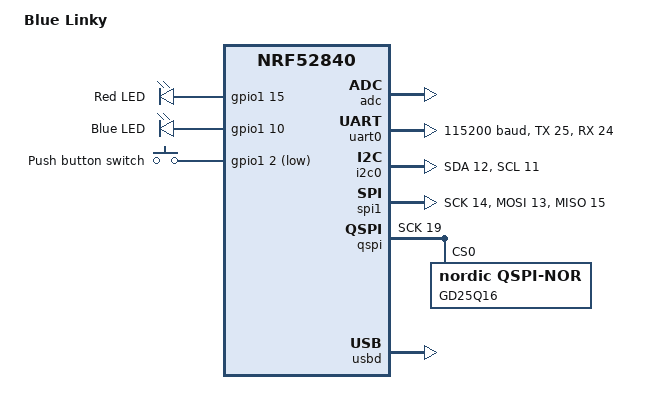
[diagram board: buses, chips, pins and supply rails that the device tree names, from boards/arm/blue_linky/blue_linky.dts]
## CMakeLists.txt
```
#
# Copyright (c) 2020 Nordic Semiconductor
#
# SPDX-License-Identifier: LicenseRef-Nordic-5-Clause
#

cmake_minimum_required(VERSION 3.13.1)
list(APPEND BOARD_ROOT ${CMAKE_CURRENT_SOURCE_DIR})
find_package(Zephyr REQUIRED HINTS $ENV{ZEPHYR_BASE})
project(linky)

FILE(GLOB app_sources src/*.c)
# NORDIC SDK APP START
target_sources(app PRIVATE
	${app_sources}
)
# NORDIC SDK APP END
```

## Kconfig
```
#
# Copyright (c) 2018 Nordic Semiconductor
#
# SPDX-License-Identifier: LicenseRef-Nordic-5-Clause
#

source "Kconfig.zephyr"

menu "Linky UART BLE GATT service"

config BT_NUS_THREAD_STACK_SIZE
	int "Thread stack size"
	default 1024
	help
	  Stack size used in each of the two threads

config BT_NUS_UART_BUFFER_SIZE
	int "UART payload buffer element size"
	default 20
	help
	  Size of the payload buffer in each RX and TX FIFO element

config BT_NUS_SECURITY_ENABLED
	bool "Enable security"
	default y
	select BT_SMP
	help
	  "Enable BLE security for the UART service"

config BT_NUS_UART_RX_WAIT_TIME
	int "Timeout for UART RX complete event"
	default 50
	help
	  Wait for RX complete event time in milliseconds

endmenu
```

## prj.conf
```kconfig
# Enable the UART driver
CONFIG_UART_ASYNC_API=y
CONFIG_NRFX_UARTE0=y
CONFIG_SERIAL=y
CONFIG_GPIO=y

# Make sure printk is not printing to the UART console
CONFIG_CONSOLE=n
CONFIG_RTT_CONSOLE=n
CONFIG_UART_CONSOLE=n

CONFIG_HEAP_MEM_POOL_SIZE=2048

CONFIG_BT=y
CONFIG_BT_PERIPHERAL=y
CONFIG_BT_DEVICE_NAME="Linky UART Service"
CONFIG_BT_DEVICE_APPEARANCE=833
CONFIG_BT_MAX_CONN=1
CONFIG_BT_MAX_PAIRED=1

# Enable the NUS service
CONFIG_BT_NUS=y

# Enable bonding
CONFIG_BT_SETTINGS=y
CONFIG_FLASH=y
CONFIG_FLASH_PAGE_LAYOUT=y
CONFIG_FLASH_MAP=y
CONFIG_NVS=y
CONFIG_SETTINGS=y

# This example requires more workqueue stack
CONFIG_SYSTEM_WORKQUEUE_STACK_SIZE=2048

# Config logger
CONFIG_LOG=n
CONFIG_USE_SEGGER_RTT=n
CONFIG_LOG_BACKEND_RTT=n
CONFIG_LOG_BACKEND_UART=n

CONFIG_ASSERT=n
```

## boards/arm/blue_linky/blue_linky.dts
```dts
/*
 * Copyright (c) 2020 Tobias Svehagen
 *
 * SPDX-License-Identifier: Apache-2.0
 */

/dts-v1/;
#include <nordic/nrf52840_qiaa.dtsi>
#include "feather_connector.dtsi"

/ {
	model = "Blue Linky";
	compatible = "adafruit,feather-nrf52840";

	chosen {
		zephyr,console = &uart0;
		zephyr,shell-uart = &uart0;
		zephyr,uart-mcumgr = &uart0;
		zephyr,bt-mon-uart = &uart0;
		zephyr,bt-c2h-uart = &uart0;
		zephyr,sram = &sram0;
		zephyr,flash = &flash0;
		zephyr,code-partition = &slot0_partition;
	};

	leds {
		compatible = "gpio-leds";
		led0: led_0 {
			gpios = <&gpio1 15 0>;
			label = "Red LED";
		};
		led1: led_1 {
			gpios = <&gpio1 10 0>;
			label = "Blue LED";
		};
	};

	buttons {
		compatible = "gpio-keys";
		button0: button_0 {
			gpios = <&gpio1 2 (GPIO_PULL_UP | GPIO_ACTIVE_LOW)>;
			label = "Push button switch";
		};
	};

	/* These aliases are provided for compatibility with samples */
	aliases {
		led0 = &led0;
		led1 = &led1;
		sw0 = &button0;
	};
};

&adc {
	status = "okay";
};

&gpiote {
	status = "okay";
};

&gpio0 {
	status = "okay";
};

&gpio1 {
	status = "okay";
};

&uart0 {
	compatible = "nordic,nrf-uart";
	current-speed = <115200>;
	status = "okay";
	tx-pin = <25>;
	rx-pin = <24>;
};

&i2c0 {
	status = "okay";
	sda-pin = <12>;
	scl-pin = <11>;
};

&spi1 {
	compatible = "nordic,nrf-spi";
	status = "okay";
	sck-pin = <14>;
	mosi-pin = <13>;
	miso-pin = <15>;
};

&qspi {
	status = "okay";
	sck-pin = <19>;
	io-pins = <17>, <22>, <23>, <21>;
	csn-pins = <20>;
	gd25q16: gd25q16@0 {
		/* NOTE: Quad mode not supported as driver does not handle
		 * QE bit setting in SR2. Ref. GD25Q16C, Rev 3.0, p. 12.
		 */
		compatible = "nordic,qspi-nor";
		reg = <0>;
		writeoc = "pp2o";
		readoc = "read2io";
		sck-frequency = <16000000>;
		label = "GD25Q16";
		jedec-id = [c8 40 15];
		size = <16777216>;
		has-dpd;
		t-enter-dpd = <20000>;
		t-exit-dpd = <20000>;
	};
};

&flash0 {

	partitions {
		compatible = "fixed-partitions";
		#address-cells = <1>;
		#size-cells = <1>;

		boot_partition: partition@0 {
			label = "mcuboot";
			reg = <0x000000000 0x0000C000>;
		};
		slot0_partition: partition@c000 {
			label = "image-0";
			reg = <0x0000C000 0x00067000>;
		};
		slot1_partition: partition@73000 {
			label = "image-1";
			reg = <0x00073000 0x00067000>;
		};
		scratch_partition: partition@da000 {
			label = "image-scratch";
			reg = <0x000da000 0x0001e000>;
		};

		/*
		 * The flash starting at 0x000f8000 and ending at
		 * 0x000fffff is reserved for use by the application.
		 */

		/* Storage partition will be used by FCB/NFFS/NVS if enabled. */
		storage_partition: partition@f8000 {
			label = "storage";
			reg = <0x000f8000 0x00008000>;
		};
	};
};

&usbd {
	compatible = "nordic,nrf-usbd";
	status = "okay";
};
```

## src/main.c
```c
// void app_error_fault_handler(uint32_t id, uint32_t pc, uint32_t info)
// {
//   __auto_type _err = (error_info_t *)info;

//   NRF_LOG_ERROR("{%s}[%d]\r\n", (uint32_t)_err->p_file_name, _err->line_num);
//   NRF_LOG_FINAL_FLUSH();
//   // On assert, the system can only recover with a reset.
// #ifndef DEBUG
//   NVIC_SystemReset();
// #else
//   app_error_save_and_stop(id, pc, info);
// #endif // DEBUG
// }

#include <stdint.h>
#include <inttypes.h>
#include <string.h>
#include "nordic_common.h"
#include "nrf.h"
#include "ble_hci.h"
#include "ble_advdata.h"
#include "ble_advertising.h"
#include "ble_conn_params.h"
#include "nrf_sdh.h"
#include "nrf_sdh_soc.h"
#include "nrf_sdh_ble.h"
#include "nrf_ble_gatt.h"
#include "nrf_ble_qwr.h"
#include "app_timer.h"
#include "app_uart.h"
#include "app_util_platform.h"
#include "bsp_btn_ble.h"
#include "nrf_pwr_mgmt.h"

#include "ble_linkyt.h"
#include "teleinfo.h"
#include "uart.h"

#include "nrf_log.h"
#include "nrf_log_ctrl.h"
#include "nrf_log_default_backends.h"

#define APP_BLE_CONN_CFG_TAG 1 /**< A tag identifying the SoftDevice BLE configuration. */

#define DEVICE_NAME "Linkyt"                                /**< Name of device. Will be included in the advertising data. */
#define LINKYT_SERVICE_UUID_TYPE BLE_UUID_TYPE_VENDOR_BEGIN /**< UUID type for the Linkyt service (vendor specific). */

#define APP_BLE_OBSERVER_PRIO 3 /**< Application's BLE observer priority. You shouldn't need to modify this value. */

#define APP_ADV_INTERVAL 64 /**< The advertising interval (in units of 0.625 ms. This value corresponds to 40 ms). */

#define APP_ADV_DURATION 18000 /**< The advertising duration (180 seconds) in units of 10 milliseconds. */

#define MIN_CONN_INTERVAL MSEC_TO_UNITS(20, UNIT_1_25_MS)    /**< Minimum acceptable connection interval (20 ms), Connection interval uses 1.25 ms units. */
#define MAX_CONN_INTERVAL MSEC_TO_UNITS(75, UNIT_1_25_MS)    /**< Maximum acceptable connection interval (75 ms), Connection interval uses 1.25 ms units. */
#define SLAVE_LATENCY 0                                      /**< Slave latency. */
#define CONN_SUP_TIMEOUT MSEC_TO_UNITS(4000, UNIT_10_MS)     /**< Connection supervisory timeout (4 seconds), Supervision Timeout uses 10 ms units. */
#define FIRST_CONN_PARAMS_UPDATE_DELAY APP_TIMER_TICKS(5000) /**< Time from initiating event (connect or start of notification) to first time sd_ble_gap_conn_param_update is called (5 seconds). */
#define NEXT_CONN_PARAMS_UPDATE_DELAY APP_TIMER_TICKS(30000) /**< Time between each call to sd_ble_gap_conn_param_update after the first call (30 seconds). */
#define MAX_CONN_PARAMS_UPDATE_COUNT 3                       /**< Number of attempts before giving up the connection parameter negotiation. */

#define DEAD_BEEF 0xDEADBEEF /**< Value used as error code on stack dump, can be used to identify stack location on stack unwind. */

BLE_LINKYT_DEF(m_linky, NRF_SDH_BLE_TOTAL_LINK_COUNT); /**< BLE NUS service instance. */
NRF_BLE_GATT_DEF(m_gatt);                              /**< GATT module instance. */
NRF_BLE_QWR_DEF(m_qwr);                                /**< Context for the Queued Write module.*/
BLE_ADVERTISING_DEF(m_advertising);                    /**< Advertising module instance. */

static uint16_t m_conn_handle = BLE_CONN_HANDLE_INVALID;                  /**< Handle of the current connection. */
static uint16_t m_ble_linkyt_max_data_len = BLE_GATT_ATT_MTU_DEFAULT - 3; /**< Maximum length of data (in bytes) that can be transmitted to the peer by the Nordic UART service module. */
static ble_uuid_t m_adv_uuids[] =                                         /**< Universally unique service identifier. */
    {
        {BLE_UUID_LINKYT_SERVICE, LINKYT_SERVICE_UUID_TYPE}};

/**
 * @brief Function for assert macro callback.
 *
 * @details This function will be called in case of an assert in the SoftDevice.
 *
 * @warning On assert from the SoftDevice, the system can only recover on reset.
 *
 * @param[in] line_num    Line number of the failing ASSERT call.
 * @param[in] p_file_name File name of the failing ASSERT call.
 */
void assert_nrf_callback(uint16_t line_num, const uint8_t *p_file_name)
{
  app_error_handler(DEAD_BEEF, line_num, p_file_name);
}

/**
 * @brief Function for initializing the timer module.
 */
static void timers_init(void)
{
  ret_code_t err_code = app_timer_init();
  APP_ERROR_CHECK(err_code);
}

/**
 * @brief Function for the GAP initialization.
 *
 * @details This function will set up all the necessary GAP (Generic Access Profile) parameters of
 *          the device. It also sets the permissions and appearance.
 */
static void gap_params_init(void)
{
  uint32_t err_code;
  ble_gap_conn_params_t gap_conn_params;
  ble_gap_conn_sec_mode_t sec_mode;

  BLE_GAP_CONN_SEC_MODE_SET_OPEN(&sec_mode);

  err_code = sd_ble_gap_device_name_set(&sec_mode,
                                        (const uint8_t *)DEVICE_NAME,
                                        strlen(DEVICE_NAME));
  APP_ERROR_CHECK(err_code);

  memset(&gap_conn_params, 0, sizeof(gap_conn_params));

  gap_conn_params.min_conn_interval = MIN_CONN_INTERVAL;
  gap_conn_params.max_conn_interval = MAX_CONN_INTERVAL;
  gap_conn_params.slave_latency = SLAVE_LATENCY;
  gap_conn_params.conn_sup_timeout = CONN_SUP_TIMEOUT;

  err_code = sd_ble_gap_ppcp_set(&gap_conn_params);
  APP_ERROR_CHECK(err_code);
}

/**
 * @brief Function for handling Queued Write Module errors.
 *
 * @details A pointer to this function will be passed to each service which may need to inform the
 *          application about an error.
 *
 * @param[in]   nrf_error   Error code containing information about what went wrong.
 */
static void nrf_qwr_error_handler(uint32_t nrf_error)
{
  APP_ERROR_HANDLER(nrf_error);
}

/**
 * @brief   Function for handling app_uart events.
 */
void linkyt_uart_event_handle(const uint8_t *frame, const uint16_t frame_len)
{
  teleinfo_data_t data = {0};

  /* Parse teleinfo data */
  int32_t rc = teleinfo_parse_frame(frame, frame_len, &data);

  if (rc != TELEINFO_SUCCESS)
  {
    NRF_LOG_ERROR("Cannot parse teleinfo frame");
    return;
  }

  // Quickly blink led
  uint32_t err_code = bsp_indication_set(BSP_INDICATE_RCV_OK);

  err_code = ble_linkyt_data_send(&m_linky, &data, m_conn_handle);
  NRF_LOG_INFO("ble_linkyt_data_send rc=%" PRIu32, err_code);
  if ((err_code != NRF_ERROR_INVALID_STATE) &&
      (err_code != NRF_ERROR_RESOURCES) &&
      (err_code != NRF_ERROR_NOT_FOUND))
  {
    APP_ERROR_CHECK(err_code);
  }
}

/**
 * @brief Function for initializing services that will be used by the application.
 */
static void services_init(void)
{
  uint32_t err_code;
  nrf_ble_qwr_init_t qwr_init = {0};

  // Initialize Queued Write Module.
  qwr_init.error_handler = nrf_qwr_error_handler;

  err_code = nrf_ble_qwr_init(&m_qwr, &qwr_init);
  APP_ERROR_CHECK(err_code);

  err_code = ble_linkyt_init(&m_linky);
  APP_ERROR_CHECK(err_code);

  linkyt_uart_config_t uart_cfg = {
      .evt_handler = linkyt_uart_event_handle};
  err_code = uart_init(&uart_cfg);
  APP_ERROR_CHECK(err_code);
}

/**
 * @brief Function for handling an event from the Connection Parameters Module.
 *
 * @details This function will be called for all events in the Connection Parameters Module
 *          which are passed to the application.
 *
 * @note All this function does is to disconnect. This could have been done by simply setting
 *       the disconnect_on_fail config parameter, but instead we use the event handler
 *       mechanism to demonstrate its use.
 *
 * @param[in] p_evt  Event received from the Connection Parameters Module.
 */
static void on_conn_params_evt(ble_conn_params_evt_t *p_evt)
{
  uint32_t err_code;

  if (p_evt->evt_type == BLE_CONN_PARAMS_EVT_FAILED)
  {
    err_code = sd_ble_gap_disconnect(m_conn_handle, BLE_HCI_CONN_INTERVAL_UNACCEPTABLE);
    APP_ERROR_CHECK(err_code);
  }
}

/**
 * @brief Function for handling errors from the Connection Parameters module.
 *
 * @param[in] nrf_error  Error code containing information about what went wrong.
 */
static void conn_params_error_handler(uint32_t nrf_error)
{
  APP_ERROR_HANDLER(nrf_error);
}

/**
 * @brief Function for initializing the Connection Parameters module.
 */
static void conn_params_init(void)
{
  uint32_t err_code;
  ble_conn_params_init_t cp_init;

  memset(&cp_init, 0, sizeof(cp_init));

  cp_init.p_conn_params = NULL;
  cp_init.first_conn_params_update_delay = FIRST_CONN_PARAMS_UPDATE_DELAY;
  cp_init.next_conn_params_update_delay = NEXT_CONN_PARAMS_UPDATE_DELAY;
  cp_init.max_conn_params_update_count = MAX_CONN_PARAMS_UPDATE_COUNT;
  cp_init.start_on_notify_cccd_handle = BLE_GATT_HANDLE_INVALID;
  cp_init.disconnect_on_fail = false;
  cp_init.evt_handler = on_conn_params_evt;
  cp_init.error_handler = conn_params_error_handler;

  err_code = ble_conn_params_init(&cp_init);
  APP_ERROR_CHECK(err_code);
}

/**
 * @brief Function for starting advertising.
 */
static void advertising_start(void)
{
  uint32_t err_code = sd_ble_gap_tx_power_set(BLE_GAP_TX_POWER_ROLE_ADV, m_advertising.adv_handle, 8);
  APP_ERROR_CHECK(err_code);

  err_code = ble_advertising_start(&m_advertising, BLE_ADV_MODE_FAST);
  APP_ERROR_CHECK(err_code);
}

/**
 * @brief Function for handling advertising events.
 *
 * @details This function will be called for advertising events which are passed to the application.
 *
 * @param[in] ble_adv_evt  Advertising event.
 */
static void on_adv_evt(ble_adv_evt_t ble_adv_evt)
{
  uint32_t err_code;

  switch (ble_adv_evt)
  {
  case BLE_ADV_EVT_FAST:
    err_code = bsp_indication_set(BSP_INDICATE_ADVERTISING);
    APP_ERROR_CHECK(err_code);
    break;
  case BLE_ADV_EVT_IDLE:
    advertising_start();
    break;
  default:
    break;
  }
}

/**
 * @brief Function for handling BLE events.
 *
 * @param[in]   p_ble_evt   Bluetooth stack event.
 * @param[in]   p_context   Unused.
 */
static void ble_evt_handler(ble_evt_t const *p_ble_evt, void *p_context)
{
  uint32_t err_code;

  switch (p_ble_evt->header.evt_id)
  {
  case BLE_GAP_EVT_CONNECTED:
    NRF_LOG_INFO("Connected");
    err_code = bsp_indication_set(BSP_INDICATE_CONNECTED);
    APP_ERROR_CHECK(err_code);
    m_conn_handle = p_ble_evt->evt.gap_evt.conn_handle;
    err_code = nrf_ble_qwr_conn_handle_assign(&m_qwr, m_conn_handle);
    APP_ERROR_CHECK(err_code);
    break;

  case BLE_GAP_EVT_DISCONNECTED:
    NRF_LOG_INFO("Disconnected");
    // LED indication will be changed when advertising starts.
    m_conn_handle = BLE_CONN_HANDLE_INVALID;
    break;

  case BLE_GAP_EVT_PHY_UPDATE_REQUEST:
  {
    NRF_LOG_DEBUG("PHY update request.");
    ble_gap_phys_t const phys =
        {
            .rx_phys = BLE_GAP_PHY_AUTO,
            .tx_phys = BLE_GAP_PHY_AUTO,
        };
    err_code = sd_ble_gap_phy_update(p_ble_evt->evt.gap_evt.conn_handle, &phys);
    APP_ERROR_CHECK(err_code);
  }
  break;

  case BLE_GAP_EVT_SEC_PARAMS_REQUEST:
    // Pairing not supported
    err_code = sd_ble_gap_sec_params_reply(m_conn_handle, BLE_GAP_SEC_STATUS_PAIRING_NOT_SUPP, NULL, NULL);
    APP_ERROR_CHECK(err_code);
    break;

  case BLE_GATTS_EVT_SYS_ATTR_MISSING:
    // No system attributes have been stored.
    err_code = sd_ble_gatts_sys_attr_set(m_conn_handle, NULL, 0, 0);
    APP_ERROR_CHECK(err_code);
    break;

  case BLE_GATTC_EVT_TIMEOUT:
    // Disconnect on GATT Client timeout event.
    err_code = sd_ble_gap_disconnect(p_ble_evt->evt.gattc_evt.conn_handle,
                                     BLE_HCI_REMOTE_USER_TERMINATED_CONNECTION);
    APP_ERROR_CHECK(err_code);
    break;

  case BLE_GATTS_EVT_TIMEOUT:
    // Disconnect on GATT Server timeout event.
    err_code = sd_ble_gap_disconnect(p_ble_evt->evt.gatts_evt.conn_handle,
                                     BLE_HCI_REMOTE_USER_TERMINATED_CONNECTION);
    APP_ERROR_CHECK(err_code);
    break;

  default:
    // No implementation needed.
    break;
  }
}

/**
 * @brief Function for the SoftDevice initialization.
 *
 * @details This function initializes the SoftDevice and the BLE event interrupt.
 */
static void ble_stack_init(void)
{
  ret_code_t err_code;

  err_code = nrf_sdh_enable_request();
  APP_ERROR_CHECK(err_code);

  // Configure the BLE stack using the default settings.
  // Fetch the start address of the application RAM.
  uint32_t ram_start = 0;
  err_code = nrf_sdh_ble_default_cfg_set(APP_BLE_CONN_CFG_TAG, &ram_start);
  APP_ERROR_CHECK(err_code);

  // Enable BLE stack.
  err_code = nrf_sdh_ble_enable(&ram_start);
  APP_ERROR_CHECK(err_code);

  // Register a handler for BLE events.
  NRF_SDH_BLE_OBSERVER(m_ble_observer, APP_BLE_OBSERVER_PRIO, ble_evt_handler, NULL);
}

/**
 * @brief Function for handling events from the GATT library.
 */
void gatt_evt_handler(nrf_ble_gatt_t *p_gatt, nrf_ble_gatt_evt_t const *p_evt)
{
  if ((m_conn_handle == p_evt->conn_handle) && (p_evt->evt_id == NRF_BLE_GATT_EVT_ATT_MTU_UPDATED))
  {
    m_ble_linkyt_max_data_len = p_evt->params.att_mtu_effective - OPCODE_LENGTH - HANDLE_LENGTH;
    NRF_LOG_INFO("Data len is set to 0x%X(%d)", m_ble_linkyt_max_data_len, m_ble_linkyt_max_data_len);
  }
  NRF_LOG_DEBUG("ATT MTU exchange completed. central 0x%x peripheral 0x%x",
                p_gatt->att_mtu_desired_central,
                p_gatt->att_mtu_desired_periph);
}

/**
 * @brief Function for initializing the GATT library.
 */
void gatt_init(void)
{
  ret_code_t err_code;

  err_code = nrf_ble_gatt_init(&m_gatt, gatt_evt_handler);
  APP_ERROR_CHECK(err_code);

  err_code = nrf_ble_gatt_att_mtu_periph_set(&m_gatt, NRF_SDH_BLE_GATT_MAX_MTU_SIZE);
  APP_ERROR_CHECK(err_code);
}

/**
 * @brief Function for initializing the Advertising functionality.
 */
static void advertising_init(void)
{
  uint32_t err_code;
  ble_advertising_init_t init;

  memset(&init, 0, sizeof(init));

  init.advdata.name_type = BLE_ADVDATA_FULL_NAME;
  init.advdata.include_appearance = false;
  init.advdata.flags = BLE_GAP_ADV_FLAGS_LE_ONLY_GENERAL_DISC_MODE;

  init.advdata.uuids_complete.uuid_cnt = sizeof(m_adv_uuids) / sizeof(m_adv_uuids[0]);
  init.advdata.uuids_complete.p_uuids = m_adv_uuids;

  init.config.ble_adv_fast_enabled = true;
  init.config.ble_adv_fast_interval = APP_ADV_INTERVAL;
  init.config.ble_adv_fast_timeout = APP_ADV_DURATION;
  init.config.ble_adv_primary_phy = BLE_GAP_PHY_1MBPS;
  init.config.ble_adv_secondary_phy = BLE_GAP_PHY_CODED;
  //init.config.ble_adv_extended_enabled  = true;

  init.evt_handler = on_adv_evt;

  err_code = ble_advertising_init(&m_advertising, &init);
  APP_ERROR_CHECK(err_code);

  ble_advertising_conn_cfg_tag_set(&m_advertising, APP_BLE_CONN_CFG_TAG);
}

/**
 * @brief Function for initializing buttons and leds.
 *
 * @param[out] p_erase_bonds  Will be true if the clear bonding button was pressed to wake the application up.
 */
static void buttons_leds_init(bool *p_erase_bonds)
{
  bsp_event_t startup_event;

  uint32_t err_code = bsp_init(BSP_INIT_LEDS | BSP_INIT_BUTTONS, NULL);
  APP_ERROR_CHECK(err_code);

  err_code = bsp_btn_ble_init(NULL, &startup_event);
  APP_ERROR_CHECK(err_code);

  *p_erase_bonds = (startup_event == BSP_EVENT_CLEAR_BONDING_DATA);
}

/**
 * @brief Function for initializing the nrf log module.
 */
static void log_init(void)
{
  ret_code_t err_code = NRF_LOG_INIT(NULL);
  APP_ERROR_CHECK(err_code);

  NRF_LOG_DEFAULT_BACKENDS_INIT();
}

/**
 * @brief Function for initializing power management.
 */
static void power_management_init(void)
{
  ret_code_t err_code;
  err_code = nrf_pwr_mgmt_init();
  APP_ERROR_CHECK(err_code);
}

/**
 * @brief Function for handling the idle state (main loop).
 *
 * @details If there is no pending log operation, then sleep until next the next event occurs.
 */
static void idle_state_handle(void)
{
  if (NRF_LOG_PROCESS() == false)
  {
    nrf_pwr_mgmt_run();
  }
}

/**
 * @brief Application main function.
 */
int main(void)
{
  bool erase_bonds;

  // Initialize.
  log_init();
  timers_init();
  buttons_leds_init(&erase_bonds);
  power_management_init();
  ble_stack_init();
  gap_params_init();
  gatt_init();
  services_init();
  advertising_init();
  conn_params_init();

  // Start execution.
  printf("\r\nUART started.\r\n");
  NRF_LOG_INFO("Debug logging for UART over RTT started.");
  advertising_start();

  // Enter main loop.
  for (;;)
  {
    idle_state_handle();
  }
}
```

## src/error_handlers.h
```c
#ifndef LINKYT_ERROR_HANDLERS_H
#define LINKYT_ERROR_HANDLERS_H

#include <stdint.h>
#include "nrf_error.h"
#include "nrf52840_bitfields.h"

/**
 * @brief Converts an NRF error code to a human readable string.
 * @param error_code NRF error code
 */
const char *nrf_error_string(uint32_t error_code)
{
   switch (error_code)
   {
   case (uint32_t)NRF_SUCCESS:
   {
      return "NRF_SUCCESS";
   }
   case (uint32_t)NRF_ERROR_SVC_HANDLER_MISSING:
   {
      return "NRF_ERROR_SVC_HANDLER_MISSING";
   }
   case (uint32_t)NRF_ERROR_SOFTDEVICE_NOT_ENABLED:
   {
      return "NRF_ERROR_SOFTDEVICE_NOT_ENABLED";
   }
   case (uint32_t)NRF_ERROR_INTERNAL:
   {
      return "NRF_ERROR_INTERNAL";
   }
   case (uint32_t)NRF_ERROR_NO_MEM:
   {
      return "NRF_ERROR_NO_MEM";
   }
   case (uint32_t)NRF_ERROR_NOT_FOUND:
   {
      return "NRF_ERROR_NOT_FOUND";
   }
   case (uint32_t)NRF_ERROR_NOT_SUPPORTED:
   {
      return "NRF_ERROR_NOT_SUPPORTED";
   }
   case (uint32_t)NRF_ERROR_INVALID_PARAM:
   {
      return "NRF_ERROR_INVALID_PARAM";
   }
   case (uint32_t)NRF_ERROR_INVALID_STATE:
   {
      return "NRF_ERROR_INVALID_STATE";
   }
   case (uint32_t)NRF_ERROR_INVALID_LENGTH:
   {
      return "NRF_ERROR_INVALID_LENGTH";
   }
   case (uint32_t)NRF_ERROR_INVALID_FLAGS:
   {
      return "NRF_ERROR_INVALID_FLAGS";
   }
   case (uint32_t)NRF_ERROR_INVALID_DATA:
   {
      return "NRF_ERROR_INVALID_DATA";
   }
   case (uint32_t)NRF_ERROR_DATA_SIZE:
   {
      return "NRF_ERROR_DATA_SIZE";
   }
   case (uint32_t)NRF_ERROR_TIMEOUT:
   {
      return "NRF_ERROR_TIMEOUT";
   }
   case (uint32_t)NRF_ERROR_NULL:
   {
      return "NRF_ERROR_NULL";
   }
   case (uint32_t)NRF_ERROR_FORBIDDEN:
   {
      return "NRF_ERROR_FORBIDDEN";
   }
   case (uint32_t)NRF_ERROR_INVALID_ADDR:
   {
      return "NRF_ERROR_INVALID_ADDR";
   }
   case (uint32_t)NRF_ERROR_BUSY:
   {
      return "NRF_ERROR_BUSY";
   }
   case (uint32_t)NRF_ERROR_CONN_COUNT:
   {
      return "NRF_ERROR_CONN_COUNT";
   }
   case (uint32_t)NRF_ERROR_RESOURCES:
   {
      return "NRF_ERROR_RESOURCES";
   }
   default:
   {
      return "NRF_ERROR_UNKNOWN";
   }
   }
}

/**
 * @brief Converts an NRF UART error code to a human readable string.
 * @param error_code NRF UART error code
 */
const char *uart_error_string(uint32_t error_code)
{
   if ((error_code & UART_ERRORSRC_BREAK_Msk) != 0ul)
   {
      return "UART_ERRORSRC_BREAK";
   }
   else if ((error_code & UART_ERRORSRC_FRAMING_Msk) != 0ul)
   {
      return "UART_ERRORSRC_FRAMING";
   }
   else if ((error_code & UART_ERRORSRC_PARITY_Msk) != 0ul)
   {
      return "UART_ERRORSRC_PARITY";
   }
   else if ((error_code & UART_ERRORSRC_OVERRUN_Msk) != 0ul)
   {
      return "UART_ERRORSRC_OVERRUN";
   }
   else
   {
      return "UART_ERRORSRC_UNKNOWN";
   }
}

#endif /* LINKYT_ERROR_HANDLERS_H */
```

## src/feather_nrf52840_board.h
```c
/**
 * Adafuit Feather 52840 board definition file.
 *
*/
#ifndef FEATHER_52840_H
#define FEATHER_52840_H

#ifdef __cplusplus
extern "C" {
#endif

#include "nrf_gpio.h"

// LEDs definitions
#define LEDS_NUMBER    2

#define LED_1          NRF_GPIO_PIN_MAP(1,10)
#define LED_2          NRF_GPIO_PIN_MAP(1,15)

#define LEDS_ACTIVE_STATE 1

#define LEDS_LIST { LED_1, LED_2 }

#define LEDS_INV_MASK  LEDS_MASK

#define BSP_LED_0      LED_1
#define BSP_LED_1      LED_2

#define BUTTONS_NUMBER 1

#define BUTTON_1       NRF_GPIO_PIN_MAP(1,2)
#define BUTTON_PULL    NRF_GPIO_PIN_PULLUP

#define BUTTONS_ACTIVE_STATE 0

#define BUTTONS_LIST { BUTTON_1 }

#define BSP_BUTTON_0   BUTTON_1

#define RX_PIN_NUMBER  NRF_GPIO_PIN_MAP(0,24)   // UART RX pin number.
#define TX_PIN_NUMBER  NRF_GPIO_PIN_MAP(0,25)   // UART TX pin number.
#define CTS_PIN_NUMBER 0u                       // UART Clear To Send pin number. Not used if HWFC is set to false.
#define RTS_PIN_NUMBER 0u                       // UART Request To Send pin number. Not used if HWFC is set to false.
#define HWFC           false                    // UART hardware flow control.

#define SPIM0_SCK_PIN   NRF_GPIO_PIN_MAP(0,14)  // SPI clock GPIO pin number.
#define SPIM0_MOSI_PIN  NRF_GPIO_PIN_MAP(0,13)  // SPI Master Out Slave In GPIO pin number.
#define SPIM0_MISO_PIN  NRF_GPIO_PIN_MAP(0,15)  // SPI Master In Slave Out GPIO pin number.
#define SPIM0_SS_PIN    NRF_GPIO_PIN_MAP(1,09)  // SPI Slave Select GPIO pin number.

#define QSPIM_SCK_PIN    NRF_GPIO_PIN_MAP(0,19)  // QSPI clock GPIO pin number.
#define QSPIM_DATA0_PIN  NRF_GPIO_PIN_MAP(0,17)  // QSPI Master DATA 0 GPIO pin number.
#define QSPIM_DATA1_PIN  NRF_GPIO_PIN_MAP(0,22)  // QSPI Master DATA 1 GPIO pin number.
#define QSPIM_DATA2_PIN  NRF_GPIO_PIN_MAP(0,23)  // QSPI Master DATA 2 GPIO pin number.
#define QSPIM_DATA3_PIN  NRF_GPIO_PIN_MAP(0,21)  // QSPI Master DATA 3 GPIO pin number.
#define QSPIM_CS_PIN     NRF_GPIO_PIN_MAP(0,20)  // QSPI Slave Select GPIO pin number.

#ifdef __cplusplus
}
#endif

#endif // FEATHER_52840_H
```
